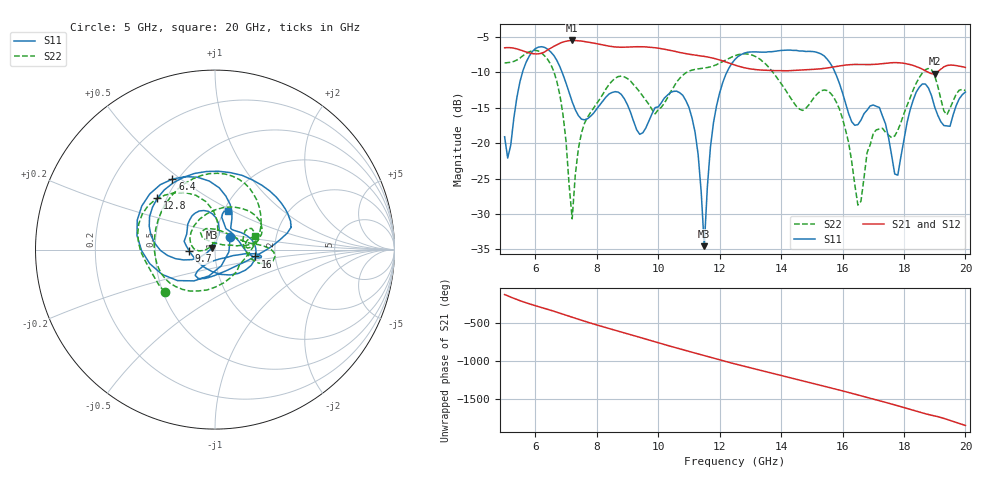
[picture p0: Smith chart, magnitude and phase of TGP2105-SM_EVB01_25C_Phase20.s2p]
! Date: Wednesday, June 05, 2013  1:50 PM
! Filename: C:\Data\Mike_Arnold\TGP2105-SM\Over_Temp\TGP2105-SM_EVB01_25C_Phase20.s2p
! Comments:
!^VDC(V):5.000
!^VDC(mA):0.092
!%Freq(GHz),S11(dB),S11(ang),S21(dB),S21(ang),S12(dB),S12(ang),S22(dB),S22(ang)
# GHz  S  DB  R  50
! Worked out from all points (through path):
!   151 points, 5 GHz to 20 GHz, reference 50 ohm
!   highest |S21| = -5.53 dB at 7.2 GHz (marker M1); lowest = -10.2 dB at 19 GHz (marker M2)
!   group delay of S21, straight-line fit = 307 ps
!   lowest |S11| = -34.5 dB at 11.5 GHz (marker M3), VSWR 1.04, Z = 48.5 + j1.02 ohm
!   |S11| at or under -10 dB: start of sweep to 5.584 GHz; 6.869 GHz to 12.24 GHz (5.368 GHz wide, 56.2 % of centre); 15.75 GHz to end of sweep
!   |S22| runs from -30.7 to -6.9 dB; largest |S21 - S12| = 0.0023
!   S11 on the Smith chart (normalised r, x): 5 GHz: 1.17, +0.17; 6.4 GHz: 0.47, +0.47; 9.7 GHz: 0.75, -0.01; 12.8 GHz: 0.45, +0.31; 16 GHz: 1.57, -0.13; 20 GHz: 1.04, +0.48
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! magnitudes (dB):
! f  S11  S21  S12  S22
! 5 GHz  -19.1  -6.6  -6.6  -8.7
! 6.4 GHz  -6.8  -6.9  -6.9  -8.2
! 6.9 GHz  -10.3  -5.8  -5.8  -16.0
! 7.2 GHz  -14.2  -5.5  -5.6  -30.7
! 7.5 GHz  -16.6  -5.6  -5.6  -18.6
! 8.7 GHz  -12.8  -6.5  -6.5  -10.6
! 9.7 GHz  -16.9  -6.5  -6.5  -14.6
! 10 GHz  -14.9  -6.6  -6.7  -15.3
! 11 GHz  -14.9  -7.5  -7.5  -9.9
! 11.5 GHz  -34.5  -7.8  -7.8  -9.4
! 11.8 GHz  -17.1  -8.0  -8.1  -9.1
! 12.5 GHz  -8.2  -9.0  -9.0  -7.7
! 12.8 GHz  -7.3  -9.4  -9.4  -7.4
! 15 GHz  -7.1  -9.6  -9.6  -14.0
! 16 GHz  -12.9  -9.1  -9.1  -16.6
! 16.5 GHz  -17.4  -8.9  -8.9  -28.7
! 17 GHz  -14.6  -8.9  -8.9  -18.7
! 17.5 GHz  -19.3  -8.7  -8.7  -18.9
! 17.8 GHz  -24.5  -8.7  -8.7  -18.2
! 18.4 GHz  -12.8  -9.2  -9.2  -11.5
! 19 GHz  -14.9  -10.2  -10.2  -10.5
! 20 GHz  -12.8  -9.3  -9.4  -12.6
